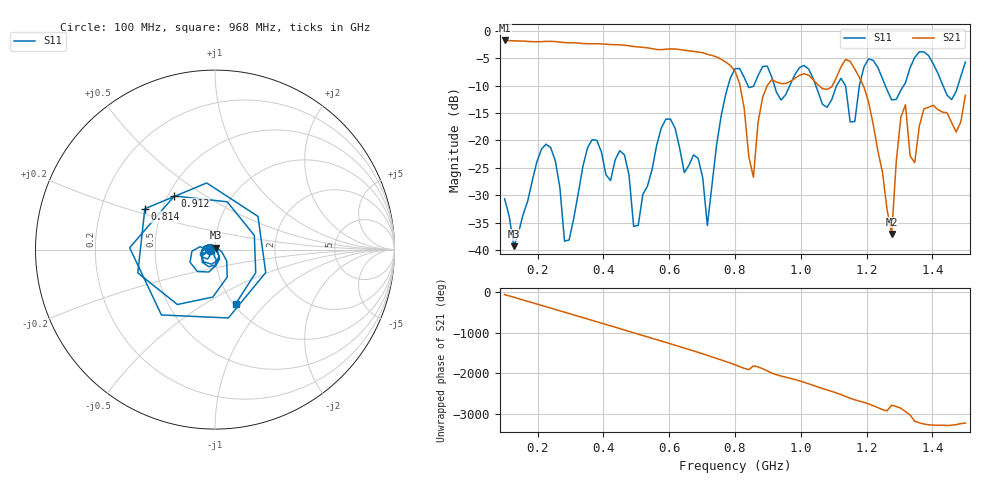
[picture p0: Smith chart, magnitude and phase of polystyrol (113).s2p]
! NanoVNA-App
! Date: 2025-09-26 09:42:45
! Start: 100MHz Stop: 1,5GHz Points: 101
! S-Parameter data: F S11 S21 S12 S22
# Hz S RI R 50
!  Frequency  S11_Real  S11_Imag  S21_Real  S21_Imag  S12_Real  S12_Imag  S22_Real  S22_Imag
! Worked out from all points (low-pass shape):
!   101 points, 100 MHz to 1.5 GHz, reference 50 ohm
!   highest |S21| = -1.79 dB at 100 MHz (marker M1); lowest = -37.1 dB at 1.276 GHz (marker M2)
!   |S21| within 3 dB of the highest: start of sweep to 743.5 MHz
!   lowest |S11| = -39.3 dB at 128 MHz (marker M3), VSWR 1.02, Z = 50.3 + j1.05 ohm
!   |S11| at or under -10 dB: start of sweep to 779.4 MHz; 1.045 GHz to 1.109 GHz (63.72 MHz wide, 5.92 % of centre); 1.257 GHz to 1.313 GHz (56.13 MHz wide, 4.37 % of centre) (the widest 3 of 7)
!   S12 and S22 are empty: the file has one direction only
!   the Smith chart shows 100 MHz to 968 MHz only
!   S11 on the Smith chart (normalised r, x): 100 MHz: 0.94, -0.01; 814 MHz: 0.40, +0.23; 912 MHz: 0.54, +0.37; 968 MHz: 1.03, -0.69
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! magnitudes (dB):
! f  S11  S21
! 100 MHz  -30.7  -1.8
! 128 MHz  -39.3  -1.9
! 212 MHz  -21.6  -2.0
! 254 MHz  -23.7  -2.0
! 282 MHz  -38.4  -2.2
! 338 MHz  -24.7  -2.3
! 464 MHz  -22.7  -2.7
! 506 MHz  -35.5  -3.0
! 576 MHz  -17.8  -3.5
! 688 MHz  -23.3  -3.9
! 716 MHz  -35.5  -4.3
! 800 MHz  -7.0  -7.4
! 814 MHz  -6.9  -9.6
! 856 MHz  -10.2  -26.7
! 912 MHz  -8.5  -8.9
! 968 MHz  -9.8  -9.3
! 1.038 GHz  -8.8  -9.0
! 1.178 GHz  -10.0  -8.5
! 1.276 GHz  -12.6  -37.1
! 1.318 GHz  -9.5  -13.5
! 1.346 GHz  -4.9  -24.1
! 1.5 GHz  -5.7  -11.8
